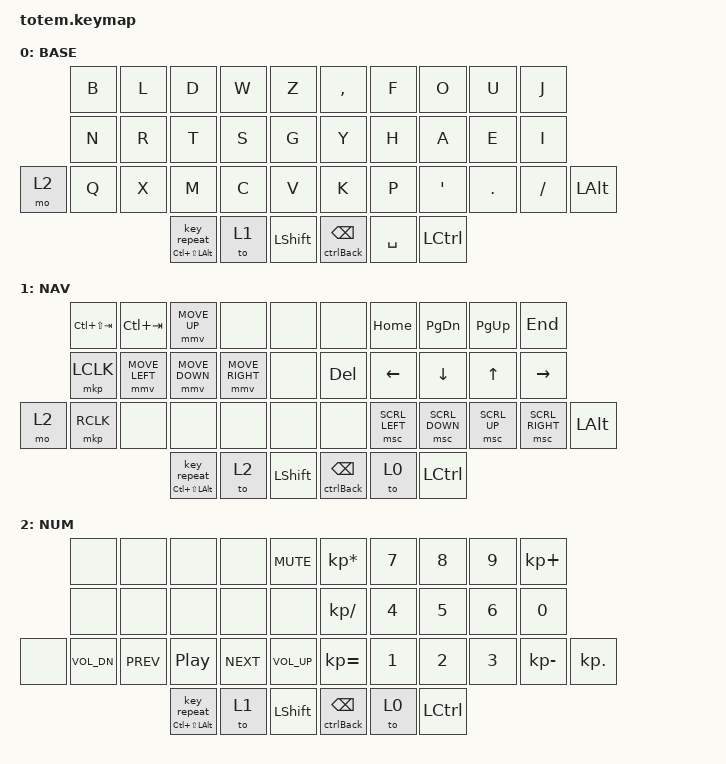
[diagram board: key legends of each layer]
//
//                                                        ▀▀▀▀▀     ▀▀▀▀▀          ▀▀█▀▀
//                                                        ▄▀▀▀▄  ▄  ▄▀▀▀▄  ▄  ▄▀▀▀▄  █  ▄▀▀▀▄
//                                                        █   █  █  █   █  █  █   █  █  █   █
//                                                         ▀▀▀   █   ▀▀▀   █   ▀▀▀   ▀   ▀▀▀
//                                                               █      ▄▄▄█▄▄▄    █   █  
//                                                               ▀      █  █  █     █▄█
//                                                             ▀▀▀▀▀    █  █  █      ▀
//                                                                      ▀  ▀  ▀
//
// ▄▄▄▄▄▄▄▄▄▄▄▄▄▄▄▄▄▄▄▄▄▄▄▄▄▄▄▄▄▄▄▄▄▄▄▄▄▄▄▄▄▄▄▄▄▄▄▄▄▄▄▄▄▄▄▄▄▄▄▄▄▄▄▄▄▄▄▄▄▄▄▄▄▄▄▄▄▄▄▄▄▄▄▄▄▄▄▄▄▄▄▄▄▄▄▄▄▄▄▄▄▄▄▄▄▄▄▄▄▄▄▄▄▄▄▄▄▄▄▄▄▄▄▄▄▄▄▄▄▄▄▄▄▄▄▄▄▄▄▄▄▄▄▄▄▄▄▄▄


#include <behaviors.dtsi>
#include <dt-bindings/zmk/keys.h>
#include <dt-bindings/zmk/bt.h>
#include <dt-bindings/zmk/outputs.h>
#include <dt-bindings/zmk/mouse.h>
#include <dt-bindings/zmk/pointing.h>

#define BASE 0
#define NAV  1
#define NUM  2

&mt {
    retro-tap;
    flavor = "tap-preferred";
    tapping-term-ms = <110>;
};

&sk {
    release-after-ms = <2000>;
    quick-release;
};

&msc {
    time-to-max-speed-ms = <100>;
    acceleration-exponent = <0>;
};


/ {
    behaviors {
        bf: backspace-full {
            compatible = "zmk,behavior-hold-tap";
            #binding-cells = <2>;
            flavor = "tap-preferred";
            tapping-term-ms = <150>;
            bindings = <&ctrlBack>, <&kp>;
            display-name = "Backspace-Full";
        };
        rpt: repeat-key {
            compatible = "zmk,behavior-hold-tap";
            #binding-cells = <2>;
            flavor = "tap-preferred";
            tapping-term-ms = <150>;
            bindings = <&kp>, <&key_repeat>;
            display-name = "Backspace-Full";
        };
    };
};
/ {
    macros {
        ctrlBack: ctrlBack {
            compatible = "zmk,behavior-macro";
            #binding-cells = <0>;
            wait-ms= <0>;
            bindings
            = <&kp LC(BSPC)>
            ;
        };
        bothBrc: bothBrc {
            compatible = "zmk,behavior-macro";
            #binding-cells = <0>;
            bindings
            = <&kp LBRC>
            , <&kp RBRC>
            , <&kp LEFT>
            ;
        };
        bothPar: bothPar {
            compatible = "zmk,behavior-macro";
            #binding-cells = <0>;
            bindings
            = <&kp LPAR>
            , <&kp RPAR>
            , <&kp LEFT>
            ;
        };
        doubleQuote: doubleQuote {
            compatible = "zmk,behavior-macro";
            #binding-cells = <0>;
            bindings
            = <&kp DOUBLE_QUOTES>
            , <&kp DOUBLE_QUOTES>
            , <&kp LEFT>
            ;
        };
        doubleApost: doubleApost {
            compatible = "zmk,behavior-macro";
            #binding-cells = <0>;
            bindings
            = <&kp APOSTROPHE>
            , <&kp APOSTROPHE>
            , <&kp LEFT>
            ;
        };
        bothBrack: bothBrack {
            compatible = "zmk,behavior-macro";
            #binding-cells = <0>;
            bindings
            = <&kp LBKT>
            , <&kp RBKT>
            , <&kp LEFT>
            ;
        };
        bothThan: bothThan {
            compatible = "zmk,behavior-macro";
            #binding-cells = <0>;
            bindings
            = <&kp LT>
            , <&kp GT>
            , <&kp LEFT>
            ;
        };
    };
};

/ {
    combos {
        compatible = "zmk,combos";
        combo_tab {
            timeout-ms = <50>;
            key-positions = <0 10>;
            bindings = <&kp TAB>;
        };
        combo_at {
            timeout-ms = <50>;
            key-positions = <1 11>;
            bindings = <&kp AT>;
        };
        combo_perc {
            timeout-ms = <50>;
            key-positions = <2 12>;
            bindings = <&kp PERCENT>;
        };
        combo_and {
            timeout-ms = <50>;
            key-positions = <3 13>;
            bindings = <&kp AMPERSAND>;
        };
        combo_esc {
            timeout-ms = <50>;
            key-positions = <4 14>;
            bindings = <&kp ESC>;
        };
        combo_esclam {
            timeout-ms = <50>;
            key-positions = <5 15>;
            bindings = <&kp EXCL>;
        };
        combo_caret {
            timeout-ms = <50>;
            key-positions = <6 16>;
            bindings = <&kp CARET>;
        };
        combo_star {
            timeout-ms = <50>;
            key-positions = <7 17>;
            bindings = <&kp ASTERISK>;
        };
        combo_hash {
            timeout-ms = <50>;
            key-positions = <8 18>;
            bindings = <&kp HASH>;
        };
        combo_dollar {
            timeout-ms = <50>;
            key-positions = <9 19>;
            bindings = <&kp DOLLAR>;
        };
        combo_lbrc {
            timeout-ms = <35>;
            key-positions = <1 2>;
            bindings = <&kp LBRC>;
        };
        combo_rbrc {
            timeout-ms = <35>;
            key-positions = <2 3>;
            bindings = <&kp RBRC>;
        };
        combo_bothbrc {
            timeout-ms = <35>;
            key-positions = <1 3>;
            bindings = <&bothBrc>;
        };
        combo_lpar {
            timeout-ms = <35>;
            key-positions = <6 7>;
            bindings = <&kp LPAR>;
        };
        combo_rpar {
            timeout-ms = <35>;
            key-positions = <7 8>;
            bindings = <&kp RPAR>;
        };
        combo_bothpar {
            timeout-ms = <35>;
            key-positions = <6 8>;
            bindings = <&bothPar>;
        };
        combo_minus {
            timeout-ms = <35>;
            key-positions = <11 12>;
            bindings = <&kp MINUS>;
        };
        combo_equal {
            timeout-ms = <35>;
            key-positions = <12 13>;
            bindings = <&kp EQUAL>;
        };
        combo_plus {
            timeout-ms = <35>;
            key-positions = <13 14>;
            bindings = <&kp PLUS>;
        };
        combo_pipe {
            timeout-ms = <35>;
            key-positions = <15 16>;
            bindings = <&kp PIPE>;
        };
        combo_quote {
            timeout-ms = <35>;
            key-positions = <16 17>;
            bindings = <&kp DOUBLE_QUOTES>;
        };
        combo_enter {
            timeout-ms = <35>;
            key-positions = <17 18>;
            bindings = <&kp ENTER>;
        };
        combo_backslash {
            timeout-ms = <50>;
            key-positions = <18 19>;
            bindings = <&kp BACKSLASH>;
        };
        combo_undo {
            timeout-ms = <35>;
            key-positions = <11 13>;
            bindings = <&kp LC(Z)>;
        };
        combo_redo {
            timeout-ms = <35>;
            key-positions = <16 18>;
            bindings = <&kp LC(Y)>;
        };
        combo_cut {
            timeout-ms = <50>;
            key-positions = <11 22>;
            bindings = <&kp LC(X)>;
        };
        combo_copy {
            timeout-ms = <50>;
            key-positions = <12 23>;
            bindings = <&kp LC(C)>;
        };
        combo_paste {
            timeout-ms = <50>;
            key-positions = <13 24>;
            bindings = <&kp LC(V)>;
        };
        combo_doubleQuote {
            timeout-ms = <50>;
            key-positions = <16 27>;
            bindings = <&doubleQuote>;
        };
        combo_doubleApost {
            timeout-ms = <50>;
            key-positions = <17 28>;
            bindings = <&doubleApost>;
        };
        combo_question {
            timeout-ms = <50>;
            key-positions = <18 29>;
            bindings = <&kp QUESTION>;
        };
        combo_lbrkt {
            timeout-ms = <35>;
            key-positions = <22 23>;
            bindings = <&kp LBKT>;
        };
        combo_rbrkt {
            timeout-ms = <35>;
            key-positions = <23 24>;
            bindings = <&kp RBKT>;
        };
        combo_bothBrack {
            timeout-ms = <35>;
            key-positions = <22 24>;
            bindings = <&bothBrack>;
        };
        combo_lthan {
            timeout-ms = <35>;
            key-positions = <27 28>;
            bindings = <&kp LT>;
        };
        combo_gthan {
            timeout-ms = <35>;
            key-positions = <28 29>;
            bindings = <&kp GT>;
        };
        combo_bothThan {
            timeout-ms = <35>;
            key-positions = <27 29>;
            bindings = <&bothThan>;
        };
        combo_tilde {
            timeout-ms = <35>;
            key-positions = <2 13>;
            bindings = <&kp TILDE>;
        };
        combo_underscore {
            timeout-ms = <35>;
            key-positions = <12 24>;
            bindings = <&kp UNDER>;
        };
        combo_semi {
            timeout-ms = <35>;
            key-positions = <7 16>;
            bindings = <&kp SEMI>;
        };
        combo_colon {
            timeout-ms = <35>;
            key-positions = <17 27>;
            bindings = <&kp COLON>;
        };
    };
};

/ {
    keymap {
        compatible = "zmk,keymap";
        // ▄▄▄▄▄▄▄▄▄▄▄▄▄▄▄▄▄▄▄▄▄▄▄▄▄▄▄▄▄▄▄▄▄▄▄▄▄▄▄▄▄▄▄▄▄▄▄▄▄▄▄▄▄▄▄▄▄▄▄▄▄▄▄▄▄▄▄▄▄▄▄▄▄▄▄▄▄▄▄▄▄▄▄▄▄▄▄▄▄▄▄▄▄▄▄▄▄▄▄▄▄▄▄▄▄▄▄▄▄▄▄▄▄▄▄▄▄▄▄▄▄▄▄▄▄▄▄▄▄▄▄▄▄▄▄▄▄▄▄▄▄▄▄▄▄▄▄▄▄

        base_layer {
            // ┏━━━━━━━━━━━━━━━━━━━━━━━━━━━━━━━━━━━━━━━┓
            label= "BASE"                              ;
            // ┗━━━━━━━━━━━━━━━━━━━━━━━━━━━━━━━━━━━━━━━┛
            //             ┏━━━━━━━━━━━┳━━━━━━━━━━━┳━━━━━━━━━━━┳━━━━━━━━━━━┳━━━━━━━━━━━┓   ┏━━━━━━━━━━━┳━━━━━━━━━━━┳━━━━━━━━━━━┳━━━━━━━━━━━┳━━━━━━━━━━━┓
            //             ┃     B     ┃     L     ┃     D     ┃     W     ┃     Z     ┃   ┃     ,     ┃     F     ┃     O     ┃     U     ┃     J     ┃
            //             ┣━━━━━━━━━━━╋━━━━━━━━━━━╋━━━━━━━━━━━╋━━━━━━━━━━━╋━━━━━━━━━━━┫   ┣━━━━━━━━━━━╋━━━━━━━━━━━╋━━━━━━━━━━━╋━━━━━━━━━━━╋━━━━━━━━━━━┫
            //             ┃     N     ┃     R     ┃     T     ┃     S     ┃     G     ┃   ┃     Y     ┃     H     ┃     A     ┃     E     ┃     I     ┃
            // ┏━━━━━━━━━━━╋━━━━━━━━━━━╋━━━━━━━━━━━╋━━━━━━━━━━━╋━━━━━━━━━━━╋━━━━━━━━━━━┫   ┣━━━━━━━━━━━╋━━━━━━━━━━━╋━━━━━━━━━━━╋━━━━━━━━━━━╋━━━━━━━━━━━╋━━━━━━━━━━━┓
            // ┃    Num    ┃     Q     ┃     X     ┃     M     ┃     C     ┃     V     ┃   ┃     K     ┃     P     ┃     '     ┃     .     ┃     /     ┃    ALT    ┃
            // ┗━━━━━━━━━━━┻━━━━━━━━━━━┻━━━━━━━━━━━╋━━━━━━━━━━━╋━━━━━━━━━━━╋━━━━━━━━━━━┫   ┣━━━━━━━━━━━╋━━━━━━━━━━━╋━━━━━━━━━━━╋━━━━━━━━━━━┻━━━━━━━━━━━┻━━━━━━━━━━━┛
            //                                     ┃   REPEAT  ┃    SW3    ┃   SHFT    ┃   ┃   BACK    ┃   SPACE   ┃   CTRL    ┃
            //                                     ┗━━━━━━━━━━━┻━━━━━━━━━━━┻━━━━━━━━━━━┛   ┗━━━━━━━━━━━┻━━━━━━━━━━━┻━━━━━━━━━━━┛

            bindings = <
                &kp B  &kp L               &kp D            &kp W           &kp Z                   &kp COMMA             &kp F            &kp O            &kp U    &kp J
                &kp N  &kp R               &kp T            &kp S           &kp G                   &kp Y                 &kp H            &kp A            &kp E    &kp I
                &mo 2   &kp Q  &kp X               &kp M            &kp C           &kp V                   &kp K                 &kp P            &kp APOSTROPHE   &kp DOT  &kp FSLH  &kp LALT
                &rpt LC(LS(LALT)) 0               &to 1           &kp LSHIFT              &bf 0 BACKSPACE       &kp SPACE        &kp LCTRL
            >;
        };

        // ▄▄▄▄▄▄▄▄▄▄▄▄▄▄▄▄▄▄▄▄▄▄▄▄▄▄▄▄▄▄▄▄▄▄▄▄▄▄▄▄▄▄▄▄▄▄▄▄▄▄▄▄▄▄▄▄▄▄▄▄▄▄▄▄▄▄▄▄▄▄▄▄▄▄▄▄▄▄▄▄▄▄▄▄▄▄▄▄▄▄▄▄▄▄▄▄▄▄▄▄▄▄▄▄▄▄▄▄▄▄▄▄▄▄▄▄▄▄▄▄▄▄▄▄▄▄▄▄▄▄▄▄▄▄▄▄▄▄▄▄▄▄▄▄▄▄▄▄▄


        nav_layer {
            // ┏━━━━━━━━━━━━━━━━━━━━━━━━━━━━━━━━━━━━━━━┓
            label= "NAV"                               ;
            // ┗━━━━━━━━━━━━━━━━━━━━━━━━━━━━━━━━━━━━━━━┛
            //             ┏━━━━━━━━━━━┳━━━━━━━━━━━┳━━━━━━━━━━━┳━━━━━━━━━━━┳━━━━━━━━━━━┓   ┏━━━━━━━━━━━┳━━━━━━━━━━━┳━━━━━━━━━━━┳━━━━━━━━━━━┳━━━━━━━━━━━┓
            //             ┃ C + S Tab ┃  C Tab    ┃     UP    ┃           ┃    RMB    ┃   ┃           ┃    HOME   ┃  C PgDn   ┃  C PgUp   ┃    END    ┃
            //             ┣━━━━━━━━━━━╋━━━━━━━━━━━╋━━━━━━━━━━━╋━━━━━━━━━━━╋━━━━━━━━━━━┫   ┣━━━━━━━━━━━╋━━━━━━━━━━━╋━━━━━━━━━━━╋━━━━━━━━━━━╋━━━━━━━━━━━┫
            //             ┃           ┃   LEFT    ┃    DOWN   ┃   RIGHT   ┃    LMB    ┃   ┃    DEL    ┃    LEFT   ┃   DOWN    ┃    UP     ┃   RIGHT   ┃
            // ┏━━━━━━━━━━━╋━━━━━━━━━━━╋━━━━━━━━━━━╋━━━━━━━━━━━╋━━━━━━━━━━━╋━━━━━━━━━━━┫   ┣━━━━━━━━━━━╋━━━━━━━━━━━╋━━━━━━━━━━━╋━━━━━━━━━━━╋━━━━━━━━━━━╋━━━━━━━━━━━┓
            // ┃           ┃   UNDO    ┃   CUT     ┃    COPY   ┃   PASTE   ┃    REDO   ┃   ┃           ┃   W LEFT  ┃   W DOWN  ┃   W UP    ┃  W RIGHT  ┃           ┃
            // ┗━━━━━━━━━━━┻━━━━━━━━━━━┻━━━━━━━━━━━╋━━━━━━━━━━━╋━━━━━━━━━━━╋━━━━━━━━━━━┫   ┣━━━━━━━━━━━╋━━━━━━━━━━━╋━━━━━━━━━━━╋━━━━━━━━━━━┻━━━━━━━━━━━┻━━━━━━━━━━━┛
            //                                     ┃   REPEAT  ┃    SW3    ┃   SHFT    ┃   ┃   BACK    ┃   SW1     ┃   CTRL    ┃
            //                                     ┗━━━━━━━━━━━┻━━━━━━━━━━━┻━━━━━━━━━━━┛   ┗━━━━━━━━━━━┻━━━━━━━━━━━┻━━━━━━━━━━━┛
            bindings = <
                // ╷           ╷           ╷           ╷           ╷           ╷           ╷   ╷           ╷           ╷           ╷           ╷           ╷           ╷

                &kp LC(LS(TAB)) &kp LC(TAB) &mmv MOVE_UP &none       &none       &none       &kp HOME    &kp PG_DN       &kp PG_UP       &kp END
                &mkp LCLK   &mmv MOVE_LEFT &mmv MOVE_DOWN &mmv MOVE_RIGHT &none  &kp DEL      &kp LEFT    &kp DOWN    &kp UP      &kp RIGHT
                &mo 2      &mkp RCLK    &none  &none    &none   &none       &none       &msc SCRL_LEFT   &msc SCRL_DOWN &msc SCRL_UP &msc SCRL_RIGHT &kp LALT
                &rpt LC(LS(LALT)) 0               &to 2           &kp LSHIFT              &bf 0 BACKSPACE              &to 0        &kp LCTRL
            >;
        };

        // ▄▄▄▄▄▄▄▄▄▄▄▄▄▄▄▄▄▄▄▄▄▄▄▄▄▄▄▄▄▄▄▄▄▄▄▄▄▄▄▄▄▄▄▄▄▄▄▄▄▄▄▄▄▄▄▄▄▄▄▄▄▄▄▄▄▄▄▄▄▄▄▄▄▄▄▄▄▄▄▄▄▄▄▄▄▄▄▄▄▄▄▄▄▄▄▄▄▄▄▄▄▄▄▄▄▄▄▄▄▄▄▄▄▄▄▄▄▄▄▄▄▄▄▄▄▄▄▄▄▄▄▄▄▄▄▄▄▄▄▄▄▄▄▄▄▄▄▄▄

        num_layer {
            // ┏━━━━━━━━━━━━━━━━━━━━━━━━━━━━━━━━━━━━━━━┓
            label= "NUM"                               ;
            // ┗━━━━━━━━━━━━━━━━━━━━━━━━━━━━━━━━━━━━━━━┛
            //             ┏━━━━━━━━━━━┳━━━━━━━━━━━┳━━━━━━━━━━━┳━━━━━━━━━━━┳━━━━━━━━━━━┓   ┏━━━━━━━━━━━┳━━━━━━━━━━━┳━━━━━━━━━━━┳━━━━━━━━━━━┳━━━━━━━━━━━┓
            //             ┃           ┃           ┃   EMAIL2  ┃   EMAIL1  ┃   MUTE    ┃   ┃     *     ┃     7     ┃     8     ┃     9     ┃     +     ┃
            //             ┣━━━━━━━━━━━╋━━━━━━━━━━━╋━━━━━━━━━━━╋━━━━━━━━━━━╋━━━━━━━━━━━┫   ┣━━━━━━━━━━━╋━━━━━━━━━━━╋━━━━━━━━━━━╋━━━━━━━━━━━╋━━━━━━━━━━━┫
            //             ┃     VOL-  ┃   PREV    ┃    PLAY   ┃   NEXT    ┃    VOL+   ┃   ┃     /     ┃     4     ┃     5     ┃     6     ┃     0     ┃
            // ┏━━━━━━━━━━━╋━━━━━━━━━━━╋━━━━━━━━━━━╋━━━━━━━━━━━╋━━━━━━━━━━━╋━━━━━━━━━━━┫   ┣━━━━━━━━━━━╋━━━━━━━━━━━╋━━━━━━━━━━━╋━━━━━━━━━━━╋━━━━━━━━━━━╋━━━━━━━━━━━┓
            // ┃           ┃           ┃           ┃           ┃           ┃           ┃   ┃     =     ┃     1     ┃     2     ┃     3     ┃     -     ┃     .     ┃
            // ┗━━━━━━━━━━━┻━━━━━━━━━━━┻━━━━━━━━━━━╋━━━━━━━━━━━╋━━━━━━━━━━━╋━━━━━━━━━━━┫   ┣━━━━━━━━━━━╋━━━━━━━━━━━╋━━━━━━━━━━━╋━━━━━━━━━━━┻━━━━━━━━━━━┻━━━━━━━━━━━┛
            //                                     ┃   REPEAT  ┃    SW3    ┃   SHFT    ┃   ┃   BACK    ┃   SW 1    ┃   CTRL    ┃
            //                                     ┗━━━━━━━━━━━┻━━━━━━━━━━━┻━━━━━━━━━━━┛   ┗━━━━━━━━━━━┻━━━━━━━━━━━┻━━━━━━━━━━━┛
            bindings = <
                // ╷           ╷           ╷           ╷           ╷           ╷           ╷   ╷           ╷           ╷           ╷           ╷           ╷           ╷

                &none  &none               &none            &none           &kp C_MUTE                 &kp KP_MULTIPLY          &kp N7           &kp N8           &kp N9   &kp KP_PLUS
                &none  &none                  &none            &none           &none         &kp KP_DIVIDE            &kp N4           &kp N5           &kp N6   &kp N0
                &none &kp C_VOL_DN &kp C_PREV             &kp C_PLAY_PAUSE    &kp C_NEXT         &kp C_VOL_UP    &kp KP_EQUAL             &kp N1           &kp N2           &kp N3   &kp KP_MINUS   &kp KP_DOT
                &rpt LC(LS(LALT)) 0               &to 1           &kp LSHIFT              &bf 0 BACKSPACE              &to 0        &kp LCTRL
            >;
        };
    };
};
